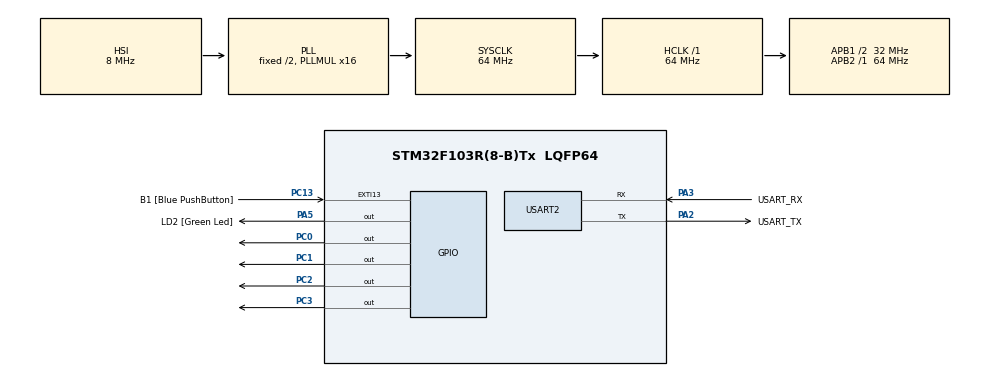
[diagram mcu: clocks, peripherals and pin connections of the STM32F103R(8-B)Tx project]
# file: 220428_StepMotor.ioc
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Mcu.Family=STM32F1
Mcu.Name=STM32F103R(8-B)Tx
Mcu.Package=LQFP64
NVIC.EXTI15_10_IRQn=true\:0\:0\:false\:false\:true\:true\:true\:true
NVIC.PriorityGroup=NVIC_PRIORITYGROUP_4
PA13.GPIO_Label=TMS
PA13.Mode=Serial_Wire
PA13.Signal=SYS_JTMS-SWDIO
PA14.GPIO_Label=TCK
PA14.Mode=Serial_Wire
PA14.Signal=SYS_JTCK-SWCLK
PA2.GPIO_Label=USART_TX
PA2.GPIO_Mode=GPIO_MODE_AF_PP
PA2.GPIO_PuPd=GPIO_NOPULL
PA2.GPIO_Speed=GPIO_SPEED_FREQ_LOW
PA2.Mode=Asynchronous
PA2.Signal=USART2_TX
PA3.GPIO_Label=USART_RX
PA3.GPIO_Mode=GPIO_MODE_AF_PP
PA3.GPIO_PuPd=GPIO_NOPULL
PA3.GPIO_Speed=GPIO_SPEED_FREQ_LOW
PA3.Mode=Asynchronous
PA3.Signal=USART2_RX
PA5.GPIO_Label=LD2 [Green Led]
PA5.GPIO_ModeDefaultOutputPP=GPIO_MODE_OUTPUT_PP
PA5.GPIO_PuPd=GPIO_NOPULL
PA5.GPIO_Speed=GPIO_SPEED_FREQ_LOW
PA5.Signal=GPIO_Output
PB3.GPIO_Label=SWO
PB3.Signal=SYS_JTDO-TRACESWO
PC0.Signal=GPIO_Output
PC1.Signal=GPIO_Output
PC13-TAMPER-RTC.GPIO_Label=B1 [Blue PushButton]
PC13-TAMPER-RTC.GPIO_PuPd=GPIO_NOPULL
PC13-TAMPER-RTC.Signal=GPXTI13
PC14-OSC32_IN.Mode=LSE-External-Oscillator
PC14-OSC32_IN.Signal=RCC_OSC32_IN
PC15-OSC32_OUT.Mode=LSE-External-Oscillator
PC15-OSC32_OUT.Signal=RCC_OSC32_OUT
PC2.Signal=GPIO_Output
PC3.Signal=GPIO_Output
PD0-OSC_IN.Mode=HSE-External-Clock-Source
PD0-OSC_IN.Signal=RCC_OSC_IN
PD1-OSC_OUT.Mode=HSE-External-Clock-Source
PD1-OSC_OUT.Signal=RCC_OSC_OUT
ProjectManager.HeapSize=0x200
ProjectManager.StackSize=0x400
ProjectManager.TargetToolchain=STM32CubeIDE
RCC.AHBFreq_Value=64000000
RCC.APB1CLKDivider=RCC_HCLK_DIV2
RCC.APB1Freq_Value=32000000
RCC.APB1TimFreq_Value=64000000
RCC.APB2Freq_Value=64000000
RCC.APB2TimFreq_Value=64000000
RCC.HCLKFreq_Value=64000000
RCC.PLLMUL=RCC_PLL_MUL16
RCC.RTCClockSelection=RCC_RTCCLKSOURCE_LSE
RCC.SYSCLKFreq_VALUE=64000000
RCC.SYSCLKSource=RCC_SYSCLKSOURCE_PLLCLK
RCC.USBFreq_Value=64000000
TIM2.Period=8000-1
TIM2.Prescaler=1024-1
USART2.VirtualMode=VM_ASYNC
VP_TIM2_VS_ClockSourceINT.Mode=Internal
board=NUCLEO-F103RB

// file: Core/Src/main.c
/* USER CODE BEGIN Header */
/**
  ******************************************************************************
  * @file           : main.c
  * @brief          : Main program body
  ******************************************************************************
  * @attention
  *
  * Copyright (c) 2022 STMicroelectronics.
  * All rights reserved.
  *
  * This software is licensed under terms that can be found in the LICENSE file
  * in the root directory of this software component.
  * If no LICENSE file comes with this software, it is provided AS-IS.
  *
  ******************************************************************************
  */
/* USER CODE END Header */
#include "main.h"

 TIM_HandleTypeDef htim2;

UART_HandleTypeDef huart2;

void SystemClock_Config(void);
static void MX_GPIO_Init(void);
static void MX_USART2_UART_Init(void);
static void MX_TIM2_Init(void);

int main(void)
{

  /* MCU Configuration--------------------------------------------------------*/

  /* Reset of all peripherals, Initializes the Flash interface and the Systick. */
  HAL_Init();

  /* Configure the system clock */
  SystemClock_Config();

  /* Initialize all configured peripherals */
  MX_GPIO_Init();
  MX_USART2_UART_Init();
  MX_TIM2_Init();
  /* USER CODE BEGIN 2 */
  HAL_TIM_Base_Start(&htim2);

  /* USER CODE END 2 */

  /* Infinite loop */
  /* USER CODE BEGIN WHILE */
  while (1)
  {

	  if(TIM2->CNT ==2000-1){
		  HAL_GPIO_WritePin(GPIOC,GPIO_PIN_0,GPIO_PIN_SET);
		  HAL_GPIO_WritePin(GPIOC,GPIO_PIN_1,GPIO_PIN_RESET);
		  HAL_GPIO_WritePin(GPIOC,GPIO_PIN_2,GPIO_PIN_RESET);
		  HAL_GPIO_WritePin(GPIOC,GPIO_PIN_3,GPIO_PIN_RESET);
	  }
	  if(TIM2->CNT ==4000-1){
		  HAL_GPIO_WritePin(GPIOC,GPIO_PIN_0,GPIO_PIN_RESET);
		  HAL_GPIO_WritePin(GPIOC,GPIO_PIN_1,GPIO_PIN_SET);
		  HAL_GPIO_WritePin(GPIOC,GPIO_PIN_2,GPIO_PIN_RESET);
		  HAL_GPIO_WritePin(GPIOC,GPIO_PIN_3,GPIO_PIN_RESET);
	  }
	  if(TIM2->CNT ==6000-1){
		  HAL_GPIO_WritePin(GPIOC,GPIO_PIN_0,GPIO_PIN_RESET);
		  HAL_GPIO_WritePin(GPIOC,GPIO_PIN_1,GPIO_PIN_RESET);
		  HAL_GPIO_WritePin(GPIOC,GPIO_PIN_2,GPIO_PIN_SET);
		  HAL_GPIO_WritePin(GPIOC,GPIO_PIN_3,GPIO_PIN_RESET);
	  }
	  if(TIM2->CNT ==8000-1){
		  HAL_GPIO_WritePin(GPIOC,GPIO_PIN_0,GPIO_PIN_RESET);
		  HAL_GPIO_WritePin(GPIOC,GPIO_PIN_1,GPIO_PIN_RESET);
		  HAL_GPIO_WritePin(GPIOC,GPIO_PIN_2,GPIO_PIN_RESET);
		  HAL_GPIO_WritePin(GPIOC,GPIO_PIN_3,GPIO_PIN_SET);
	  }

    /* USER CODE END WHILE */

  }
}

void SystemClock_Config(void)
{
  RCC_OscInitTypeDef RCC_OscInitStruct = {0};
  RCC_ClkInitTypeDef RCC_ClkInitStruct = {0};

  /** Initializes the RCC Oscillators according to the specified parameters
  * in the RCC_OscInitTypeDef structure.
  */
  RCC_OscInitStruct.OscillatorType = RCC_OSCILLATORTYPE_HSI;
  RCC_OscInitStruct.HSIState = RCC_HSI_ON;
  RCC_OscInitStruct.HSICalibrationValue = RCC_HSICALIBRATION_DEFAULT;
  RCC_OscInitStruct.PLL.PLLState = RCC_PLL_ON;
  RCC_OscInitStruct.PLL.PLLSource = RCC_PLLSOURCE_HSI_DIV2;
  RCC_OscInitStruct.PLL.PLLMUL = RCC_PLL_MUL16;
  if (HAL_RCC_OscConfig(&RCC_OscInitStruct) != HAL_OK)
  {
    Error_Handler();
  }

  /** Initializes the CPU, AHB and APB buses clocks
  */
  RCC_ClkInitStruct.ClockType = RCC_CLOCKTYPE_HCLK|RCC_CLOCKTYPE_SYSCLK
                              |RCC_CLOCKTYPE_PCLK1|RCC_CLOCKTYPE_PCLK2;
  RCC_ClkInitStruct.SYSCLKSource = RCC_SYSCLKSOURCE_PLLCLK;
  RCC_ClkInitStruct.AHBCLKDivider = RCC_SYSCLK_DIV1;
  RCC_ClkInitStruct.APB1CLKDivider = RCC_HCLK_DIV2;
  RCC_ClkInitStruct.APB2CLKDivider = RCC_HCLK_DIV1;

  if (HAL_RCC_ClockConfig(&RCC_ClkInitStruct, FLASH_LATENCY_2) != HAL_OK)
  {
    Error_Handler();
  }
}

static void MX_TIM2_Init(void)
{

  TIM_ClockConfigTypeDef sClockSourceConfig = {0};
  TIM_MasterConfigTypeDef sMasterConfig = {0};

  htim2.Instance = TIM2;
  htim2.Init.Prescaler = 1024-1;
  htim2.Init.CounterMode = TIM_COUNTERMODE_UP;
  htim2.Init.Period = 8000-1;
  htim2.Init.ClockDivision = TIM_CLOCKDIVISION_DIV1;
  htim2.Init.AutoReloadPreload = TIM_AUTORELOAD_PRELOAD_DISABLE;
  if (HAL_TIM_Base_Init(&htim2) != HAL_OK)
  {
    Error_Handler();
  }
  sClockSourceConfig.ClockSource = TIM_CLOCKSOURCE_INTERNAL;
  if (HAL_TIM_ConfigClockSource(&htim2, &sClockSourceConfig) != HAL_OK)
  {
    Error_Handler();
  }
  sMasterConfig.MasterOutputTrigger = TIM_TRGO_RESET;
  sMasterConfig.MasterSlaveMode = TIM_MASTERSLAVEMODE_DISABLE;
  if (HAL_TIMEx_MasterConfigSynchronization(&htim2, &sMasterConfig) != HAL_OK)
  {
    Error_Handler();
  }

}

static void MX_USART2_UART_Init(void)
{

  huart2.Instance = USART2;
  huart2.Init.BaudRate = 115200;
  huart2.Init.WordLength = UART_WORDLENGTH_8B;
  huart2.Init.StopBits = UART_STOPBITS_1;
  huart2.Init.Parity = UART_PARITY_NONE;
  huart2.Init.Mode = UART_MODE_TX_RX;
  huart2.Init.HwFlowCtl = UART_HWCONTROL_NONE;
  huart2.Init.OverSampling = UART_OVERSAMPLING_16;
  if (HAL_UART_Init(&huart2) != HAL_OK)
  {
    Error_Handler();
  }

}

static void MX_GPIO_Init(void)
{
  GPIO_InitTypeDef GPIO_InitStruct = {0};

  /* GPIO Ports Clock Enable */
  __HAL_RCC_GPIOC_CLK_ENABLE();
  __HAL_RCC_GPIOD_CLK_ENABLE();
  __HAL_RCC_GPIOA_CLK_ENABLE();
  __HAL_RCC_GPIOB_CLK_ENABLE();

  /*Configure GPIO pin Output Level */
  HAL_GPIO_WritePin(GPIOC, GPIO_PIN_0|GPIO_PIN_1|GPIO_PIN_2|GPIO_PIN_3, GPIO_PIN_RESET);

  /*Configure GPIO pin Output Level */
  HAL_GPIO_WritePin(LD2_GPIO_Port, LD2_Pin, GPIO_PIN_RESET);

  /*Configure GPIO pin : B1_Pin */
  GPIO_InitStruct.Pin = B1_Pin;
  GPIO_InitStruct.Mode = GPIO_MODE_IT_RISING;
  GPIO_InitStruct.Pull = GPIO_NOPULL;
  HAL_GPIO_Init(B1_GPIO_Port, &GPIO_InitStruct);

  /*Configure GPIO pins : PC0 PC1 PC2 PC3 */
  GPIO_InitStruct.Pin = GPIO_PIN_0|GPIO_PIN_1|GPIO_PIN_2|GPIO_PIN_3;
  GPIO_InitStruct.Mode = GPIO_MODE_OUTPUT_PP;
  GPIO_InitStruct.Pull = GPIO_NOPULL;
  GPIO_InitStruct.Speed = GPIO_SPEED_FREQ_LOW;
  HAL_GPIO_Init(GPIOC, &GPIO_InitStruct);

  /*Configure GPIO pin : LD2_Pin */
  GPIO_InitStruct.Pin = LD2_Pin;
  GPIO_InitStruct.Mode = GPIO_MODE_OUTPUT_PP;
  GPIO_InitStruct.Pull = GPIO_NOPULL;
  GPIO_InitStruct.Speed = GPIO_SPEED_FREQ_LOW;
  HAL_GPIO_Init(LD2_GPIO_Port, &GPIO_InitStruct);

  /* EXTI interrupt init*/
  HAL_NVIC_SetPriority(EXTI15_10_IRQn, 0, 0);
  HAL_NVIC_EnableIRQ(EXTI15_10_IRQn);

}

void Error_Handler(void)
{
  __disable_irq();
  while (1)
  {
  }
}
